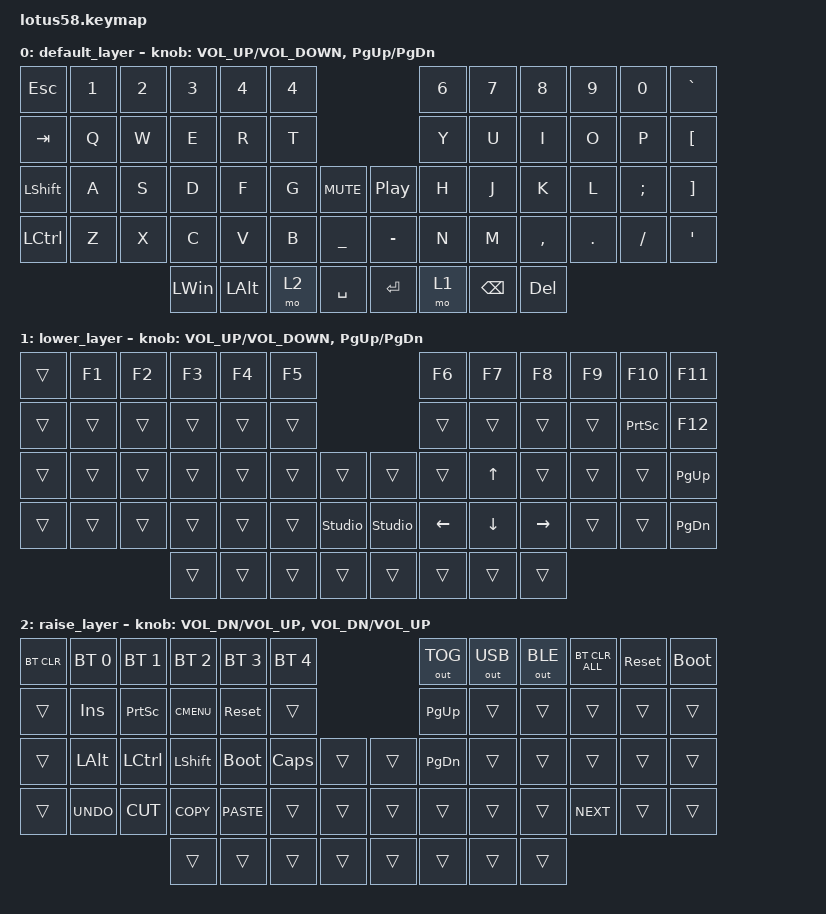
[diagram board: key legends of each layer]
/*
 * Copyright (c) 2022 The ZMK Contributors
 *
 * SPDX-License-Identifier: MIT
 */

#include <behaviors.dtsi>
#include <dt-bindings/zmk/bt.h>
#include <dt-bindings/zmk/keys.h>
#include <dt-bindings/zmk/outputs.h>

/ {
    combos {
        compatible = "zmk,combos";

        combo_dsklg {
            timeout-ms = <100>;
            key-positions = <24 52>;
            layers = <0>;
            bindings = <&kp LGUI>;
        };
    };

    behaviors {
        fofunc: four_ffour {
            compatible = "zmk,behavior-mod-morph";
            #binding-cells = <0>;
            bindings = <&kp N4>, <&kp F4>;

            mods = <(MOD_LALT|MOD_RALT)>;
        };

        sleft: s_left {
            compatible = "zmk,behavior-mod-morph";
            #binding-cells = <0>;
            bindings = <&kp S>, <&kp LEFT>;

            mods = <(MOD_LGUI|MOD_RGUI)>;
        };

        fright: f_right {
            compatible = "zmk,behavior-mod-morph";
            #binding-cells = <0>;
            bindings = <&kp F>, <&kp RIGHT>;

            mods = <(MOD_LGUI|MOD_RGUI)>;
        };
    };

    keymap {
        compatible = "zmk,keymap";

        default_layer {
            //   ------------------------------------------------------------------------------------------------------------
            //  0|  ESC  |  1  |  2  |  3   |  4   |  5   |                     |  6   |  7    |  8    |  9   |   0   |   =   | 11
            // 12|  TAB  |  Q  |  W  |  E   |  R   |  T   |                     |  Y   |  U    |  I    |  O   |   P   |   [   | 23
            // 24|  SFT  |  A  |  S  |  D   |  F   |  G   |  RESET  |  | RESET  |  H   |  J    |  K    |  L   |   ;   | ' SFT | 37
            // 38|  CTRL |  Z  |  X  |  C   |  V   |  B   |  MUTE   |  | PLAY   |  N   |  M    |  ,    |  .   |   /   | \ CTRL| 51
            // 52                    |ENT RS|  ALT | SPACE|DELETE LW|  |ENTER RS| BSPC |  ] LW | RGUI  |                        59

            bindings = <
&kp ESC    &kp N1  &kp N2  &kp N3        &kp N4    &kp NUMBER_4                                &kp N6  &kp N7         &kp N8      &kp N9   &kp N0    &kp GRAVE
&kp TAB    &kp Q   &kp W   &kp E         &kp R     &kp T                                       &kp Y   &kp U          &kp I       &kp O    &kp P     &kp LBKT
&kp LSHFT  &kp A   &kp S   &kp D         &kp F     &kp G         &kp C_MUTE  &kp C_PLAY_PAUSE  &kp H   &kp J          &kp K       &kp L    &kp SEMI  &kp RBKT
&kp LCTRL  &kp Z   &kp X   &kp C         &kp V     &kp B         &kp UNDER   &kp MINUS         &kp N   &kp M          &kp COMMA   &kp DOT  &kp FSLH  &kp SQT
                           &kp LEFT_WIN  &kp LALT  &mo 2         &kp SPACE   &kp ENTER         &mo 1   &kp BACKSPACE  &kp DELETE
            >;

            sensor-bindings =
                <&inc_dec_kp C_VOLUME_UP C_VOLUME_DOWN>,
                <&inc_dec_kp PAGE_UP PAGE_DOWN>;
        };

        lower_layer {
            // ------------------------------------------------------------------------------------------------------------
            // | `     |  F1 |  F2 |  F3  |  F4  |  F5  |                   |  F6  |  F7   |  F8   |  F9  |  F10  |  F11  |
            // |       |  !  | HOME|   ^  |  END |  %   |                   | VOL^ |  PGUP |  INS  |  ^   |  PSCR |   -   |
            // |       |  #  |  <- |   v  | ->   |  $   |        |  |       | VOLv |    <- |   ^   |  ->  |   ~   |   _   |
            // |       |  @  |  -  |  (   |  )   |  &   |        |  |       | MUTE |  PGDN |   v   |  :   |   *   |   |   |
            //                     |  F11 |      |      |        |  |       |      |       |  F12  |

            bindings = <
&trans  &kp F1  &kp F2  &kp F3  &kp F4  &kp F5                                  &kp F6    &kp F7          &kp F8           &kp F9  &kp F10    &kp F11
&trans  &trans  &trans  &trans  &trans  &trans                                  &trans    &trans          &trans           &trans  &kp PSCRN  &kp F12
&trans  &trans  &trans  &trans  &trans  &trans  &trans          &trans          &trans    &kp UP_ARROW    &trans           &trans  &trans     &kp PAGE_UP
&trans  &trans  &trans  &trans  &trans  &trans  &studio_unlock  &studio_unlock  &kp LEFT  &kp DOWN_ARROW  &kp RIGHT_ARROW  &trans  &trans     &kp PAGE_DOWN
                        &trans  &trans  &trans  &trans          &trans          &trans    &trans          &trans
            >;

            sensor-bindings =
                <&inc_dec_kp C_VOLUME_UP C_VOLUME_DOWN>,
                <&inc_dec_kp PAGE_UP PAGE_DOWN>;
        };

        raise_layer {
            // ------------------------------------------------------------------------------------------------------------
            // |BTCLR| BT1  | BT2  |  BT3  |  BT4  |  BT5 |                |OUTTOG|OUTUSB| OUTBT |      | RESET | FLASH |
            // |     | INS  | PSCR | GUI   | RESET |      |                | PGUP |      |   ^   |      |       |       |
            // |     | ALT  | CTRL | SHIFT | FLASH | CAPS |      |  |      | PGDN |   <- |   v   |  ->  |  DEL  | BSPC  |
            // |     | UNDO | CUT  | COPY  | PASTE |      |      |  |      |      |  |>  |  <|<| | |>|> |       |       |
            //                     |       |       |      |      |  |      |      |      |       |

            bindings = <
&bt BT_CLR  &bt BT_SEL 0  &bt BT_SEL 1  &bt BT_SEL 2  &bt BT_SEL 3  &bt BT_SEL 4                  &out OUT_TOG  &out OUT_USB  &out OUT_BLE  &bt BT_CLR_ALL  &sys_reset  &bootloader
&trans      &kp INS       &kp PSCRN     &kp K_CMENU   &sys_reset    &trans                        &kp PG_UP     &trans        &trans        &trans          &trans      &trans
&trans      &kp LALT      &kp LCTRL     &kp LSHFT     &bootloader   &kp CLCK      &trans  &trans  &kp PG_DN     &trans        &trans        &trans          &trans      &trans
&trans      &kp K_UNDO    &kp K_CUT     &kp K_COPY    &kp K_PASTE   &trans        &trans  &trans  &trans        &trans        &trans        &kp C_NEXT      &trans      &trans
                                        &trans        &trans        &trans        &trans  &trans  &trans        &trans        &trans
            >;

            sensor-bindings =
                <&inc_dec_kp C_VOL_DN C_VOL_UP>,
                <&inc_dec_kp C_VOL_DN C_VOL_UP>;
        };
    };
};
